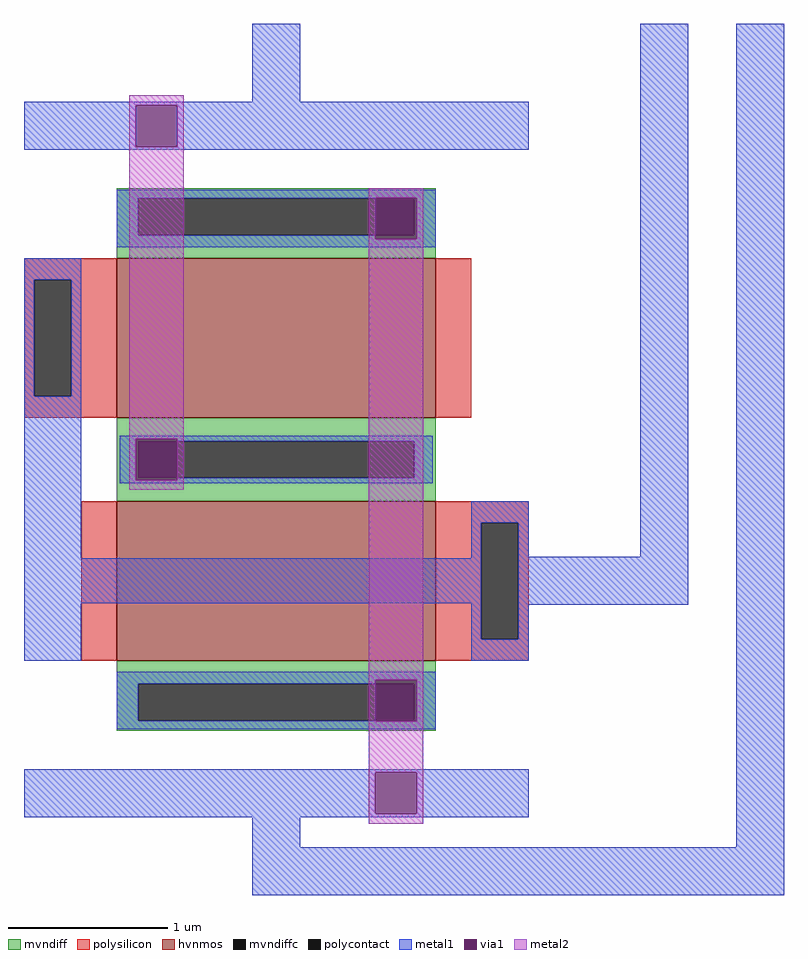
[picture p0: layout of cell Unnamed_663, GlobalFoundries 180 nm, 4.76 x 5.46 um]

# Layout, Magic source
magic
tech gf180mcuD
magscale 1 10
<< hvnmos >>
rect -400 318 0 518
rect -400 14 0 214
<< mvndiff >>
rect -400 593 0 606
rect -400 547 -373 593
rect -27 547 0 593
rect -400 518 0 547
rect -400 289 0 318
rect -400 243 -373 289
rect -27 243 0 289
rect -400 214 0 243
rect -400 -15 0 14
rect -400 -61 -373 -15
rect -27 -61 0 -15
rect -400 -74 0 -61
<< mvndiffc >>
rect -373 547 -27 593
rect -373 243 -27 289
rect -373 -61 -27 -15
<< polysilicon >>
rect -516 491 -400 518
rect -516 345 -503 491
rect -457 345 -400 491
rect -516 318 -400 345
rect 0 318 44 518
rect -444 14 -400 214
rect 0 187 116 214
rect 0 41 57 187
rect 103 41 116 187
rect 0 14 116 41
<< polycontact >>
rect -503 345 -457 491
rect 57 41 103 187
<< metal1 >>
rect -230 714 -170 812
rect -516 710 116 714
rect -516 658 -376 710
rect -324 658 116 710
rect -516 654 116 658
rect -400 594 0 604
rect -400 593 -76 594
rect -400 547 -373 593
rect -400 542 -76 547
rect -24 542 0 594
rect -400 532 0 542
rect -516 491 -444 518
rect -516 345 -503 491
rect -457 345 -444 491
rect -516 142 -444 345
rect -396 292 -4 296
rect -396 240 -376 292
rect -324 289 -4 292
rect -27 243 -4 289
rect -324 240 -4 243
rect -396 236 -4 240
rect 44 187 116 214
rect 44 142 57 187
rect -516 86 57 142
rect -516 14 -444 86
rect 44 41 57 86
rect 103 144 116 187
rect 256 144 316 812
rect 103 84 316 144
rect 103 41 116 84
rect 44 14 116 41
rect -400 -10 0 0
rect -400 -15 -76 -10
rect -400 -61 -373 -15
rect -400 -62 -76 -61
rect -24 -62 0 -10
rect -400 -72 0 -62
rect -516 -126 116 -122
rect -516 -178 -76 -126
rect -24 -178 116 -126
rect -516 -182 116 -178
rect -230 -220 -170 -182
rect 376 -220 436 812
rect -230 -280 436 -220
<< via1 >>
rect -376 658 -324 710
rect -76 593 -24 594
rect -76 547 -27 593
rect -27 547 -24 593
rect -76 542 -24 547
rect -376 289 -324 292
rect -376 243 -373 289
rect -373 243 -324 289
rect -376 240 -324 243
rect -76 -15 -24 -10
rect -76 -61 -27 -15
rect -27 -61 -24 -15
rect -76 -62 -24 -61
rect -76 -178 -24 -126
<< metal2 >>
rect -384 710 -316 722
rect -384 658 -376 710
rect -324 658 -316 710
rect -384 292 -316 658
rect -384 240 -376 292
rect -324 240 -316 292
rect -384 228 -316 240
rect -84 594 -16 606
rect -84 542 -76 594
rect -24 542 -16 594
rect -84 -10 -16 542
rect -84 -62 -76 -10
rect -24 -62 -16 -10
rect -84 -126 -16 -62
rect -84 -178 -76 -126
rect -24 -178 -16 -126
rect -84 -190 -16 -178
<< end >>
